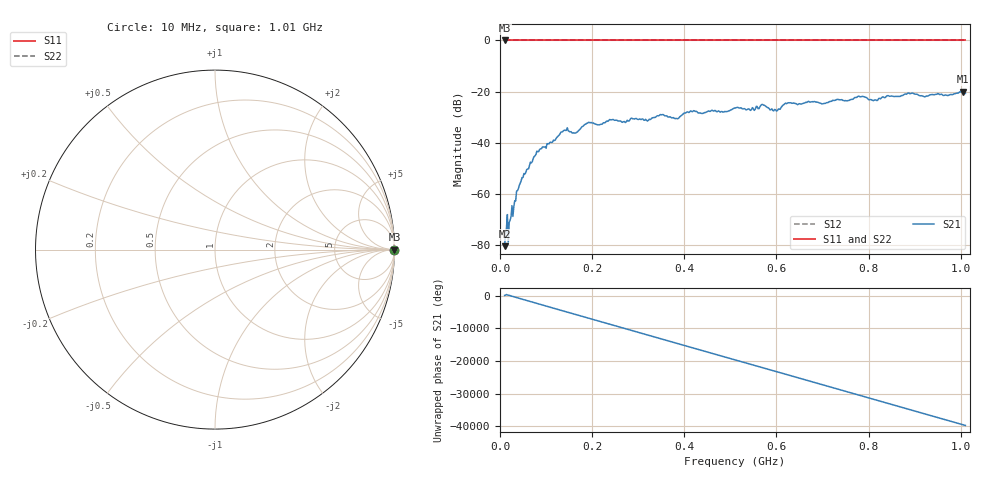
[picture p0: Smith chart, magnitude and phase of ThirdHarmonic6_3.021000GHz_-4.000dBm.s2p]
! 8/17/2025 8:41:34 AM
! C:\ANRITSUVNA\TEMP\TEMP.S2P
! CHANNEL.1
! TR.MEASUREMENT
! RAW.DATA
! RF.CORRECTION.OFF
! AVERAGING.OFF
! IF.BANDWIDTH: 5KHZ
! SWEEPTYPE:  FREQ.SWEEP(Linear)
! Reference Plane Port Info
! PORT:  PORT1  PORT2
! DISTANCE:  0  m  0  m
! TIME:  0  s  0  s
! PHASE.OFFSET:  0  deg.  0  deg.
! LOSS:  0  dB  0  dB
! REF.LOSS:  0  dB  0  dB
! REF.FREQ:  0  Hz  0  Hz
! Power Info
! POWER:  -20  dBm  -20  dBm
! EFF.POWER:  -20  dBm  -20  dBm
! SOURCE.ATTEN:  0  dB  0  dB
! TEST.ATTEN:  0  dB  0  dB
# GHZ S RI R 50.0
! FREQ.GHZ  S11RE  S11IM  S21RE  S21IM  S12RE  S12IM  S22RE  S22IM
!; PortSelection: Port_12
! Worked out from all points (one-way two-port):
!   501 points, 10 MHz to 1.01 GHz, reference 50 ohm
!   highest |S21| = -20.04 dB at 1.004 GHz (marker M1); lowest = -80.4 dB at 10 MHz (marker M2)
!   lowest |S11| = 0.0 dB at 10 MHz (marker M3)
!   |S11| at or under -10 dB: nowhere
!   |S22| runs from 0.0 to 0.0 dB; largest |S21 - S12| = 1.1
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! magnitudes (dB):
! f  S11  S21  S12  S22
! 10 MHz  0.0  -80.4  0.0  0.0
! 40 MHz  0.0  -57.8  0.0  0.0
! 78 MHz  0.0  -44.5  0.0  0.0
! 136 MHz  0.0  -35.7  0.0  0.0
! 164 MHz  0.0  -36.2  0.0  0.0
! 178 MHz  0.0  -33.7  0.0  0.0
! 194 MHz  0.0  -32.0  0.0  0.0
! 322 MHz  0.0  -31.2  0.0  0.0
! 344 MHz  0.0  -29.5  0.0  0.0
! 384 MHz  0.0  -30.5  0.0  0.0
! 416 MHz  0.0  -27.8  0.0  0.0
! 510 MHz  0.0  -26.4  0.0  0.0
! 548 MHz  0.0  -26.2  0.0  0.0
! 570 MHz  0.0  -25.0  0.0  0.0
! 598 MHz  0.0  -27.1  0.0  0.0
! 622 MHz  0.0  -24.7  0.0  0.0
! 678 MHz  0.0  -23.9  0.0  0.0
! 782 MHz  0.0  -22.0  0.0  0.0
! 814 MHz  0.0  -23.2  0.0  0.0
! 844 MHz  0.0  -21.7  0.0  0.0
! 1.004 GHz  0.0  -20.0  0.0  0.0
! 1.01 GHz  0.0  -20.7  0.0  0.0
